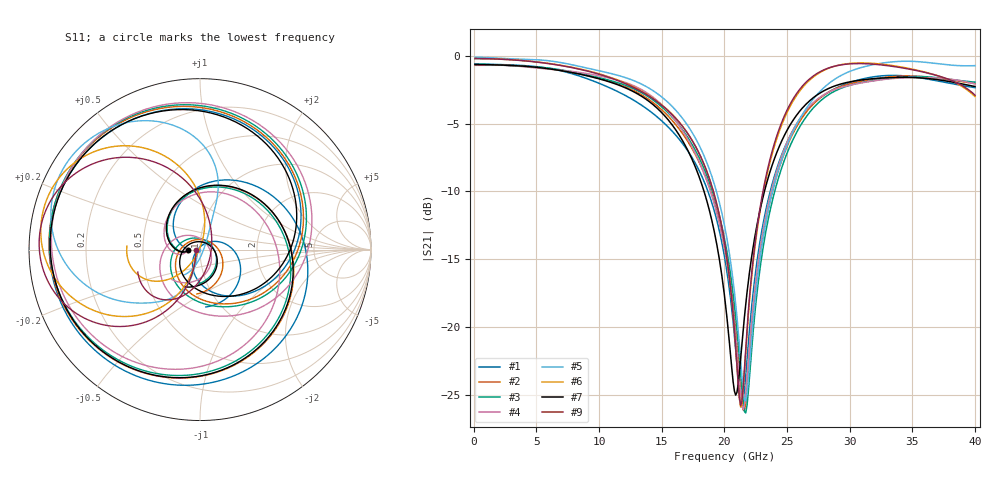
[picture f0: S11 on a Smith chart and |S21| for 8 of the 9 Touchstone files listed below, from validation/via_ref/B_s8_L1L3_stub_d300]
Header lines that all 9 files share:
# Hz S RI R 50
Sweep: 100 MHz to 40 GHz
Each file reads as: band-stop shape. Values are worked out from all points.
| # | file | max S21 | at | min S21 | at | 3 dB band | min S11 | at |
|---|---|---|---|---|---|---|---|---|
| 1 | cst.s2p | -0.62 dB | 200 MHz | -25.9 dB | 21.4 GHz | 100 MHz-13.3 GHz | -39.2 dB | 33.9 GHz |
| 2 | cst_fine.s2p | -0.65 dB | 200 MHz | -26.2 dB | 21.6 GHz | 100 MHz-14.5 GHz | -24.5 dB | 35.7 GHz |
| 3 | kisi.s2p | -0.62 dB | 100 MHz | -26.3 dB | 21.7 GHz | 100 MHz-14.8 GHz | -24.3 dB | 36.6 GHz |
| 4 | kisi_base.s2p | -0.69 dB | 1.7 GHz | -26.1 dB | 21.5 GHz | 100 MHz-15 GHz | -25.9 dB | 36.5 GHz |
| 5 | kisi_deembedded.s2p | -0.11 dB | 100 MHz | -25.5 dB | 21.7 GHz | 100 MHz-15 GHz | -36.8 dB | 100 MHz |
| 6 | ladder.s2p | -0.21 dB | 100 MHz | -25.9 dB | 21.3 GHz | 25.6 GHz-40 GHz | -47.1 dB | 30.6 GHz |
| 7 | openems.s2p | -0.65 dB | 100 MHz | -25.0 dB | 20.9 GHz | 100 MHz-14.3 GHz | -26.7 dB | 35.6 GHz |
| 8 | openems_base.s2p | -0.68 dB | 100 MHz | -24.3 dB | 20.9 GHz | 100 MHz-14.7 GHz | -27.1 dB | 36.1 GHz |
| 9 | pbm.s2p | -0.21 dB | 100 MHz | -25.8 dB | 21.3 GHz | 25.5 GHz-40 GHz | -32.4 dB | 100 MHz |
